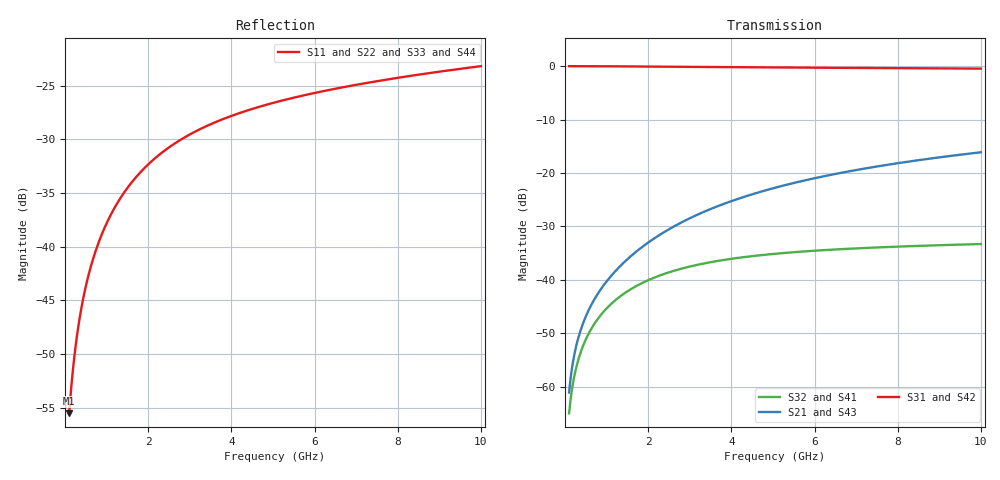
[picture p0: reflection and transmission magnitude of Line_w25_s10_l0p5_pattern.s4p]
! TOUCHSTONE file generated by CST MICROWAVE STUDIO
! Date and time: Thu Oct 23 10:02:00 2014
! Project name: Untitled_1.cst
# GHZ S MA R 50
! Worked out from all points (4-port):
!   1001 points, 100 MHz to 10 GHz, reference 50 ohm
!   strongest paths, dB at 100 MHz, 2.575 GHz, 5.05 GHz, 7.525 GHz, 10 GHz:
!     S31: 0.0, -0.1, -0.3, -0.4, -0.5
!     S42: 0.0, -0.1, -0.3, -0.4, -0.5
!     S21: -61.1, -30.2, -22.8, -18.8, -16.1
!     S43: -61.1, -30.2, -22.8, -18.8, -16.1
!     S32: -65.0, -38.4, -35.1, -34.0, -33.3
!     S41: -65.0, -38.4, -35.2, -34.0, -33.3
!   lowest |S11| = -55.5 dB at 100 MHz (marker M1), VSWR 1.00, Z = 50.1 - j0.127 ohm
!   |S11| at or under -10 dB: start of sweep to end of sweep
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0.1  0.001674 -49.3  0.0008785 91.2  0.9988 -0.3  0.000561 -92.6
     0.0008785 91.2  0.001673 -49.2  0.000561 -92.6  0.9988 -0.3
     0.9988 -0.3  0.000561 -92.6  0.001674 -49.3  0.0008785 91.2
     0.000561 -92.6  0.9988 -0.3  0.0008785 91.2  0.001673 -49.2
0.3574  0.004707 -78.7  0.003183 94.5  0.9984 -1.0  0.001979 -98.2
        0.003184 94.5  0.004699 -78.7  0.001979 -98.2  0.9984 -1.0
        0.9984 -1.0  0.001979 -98.2  0.004707 -78.7  0.003183 94.5
        0.001979 -98.2  0.9984 -1.0  0.003184 94.5  0.004699 -78.7
0.8029  0.01037 -91.1  0.007524 98.7  0.997 -2.1  0.004366 -107.8
        0.007524 98.7  0.01035 -91.0  0.004366 -107.8  0.997 -2.1
        0.997 -2.1  0.004366 -107.8  0.01037 -91.0  0.007524 98.7
        0.004366 -107.8  0.997 -2.1  0.007524 98.7  0.01035 -91.0
1.5157  0.01893 -101.3  0.01574 102.3  0.9935 -3.9  0.007848 -122.6
        0.01574 102.3  0.0189 -101.3  0.007849 -122.6  0.9935 -3.9
        0.9935 -3.9  0.007849 -122.6  0.01893 -101.3  0.01574 102.3
        0.007848 -122.6  0.9935 -3.9  0.01574 102.3  0.0189 -101.3
2.5354  0.0293 -111.1  0.03022 102.6  0.987 -6.4  0.01184 -141.9
        0.03022 102.6  0.02925 -111.2  0.01184 -141.9  0.987 -6.4
        0.987 -6.4  0.01184 -141.9  0.0293 -111.1  0.03022 102.6
        0.01184 -141.9  0.987 -6.4  0.03022 102.6  0.02926 -111.2
5.4361  0.04907 -126.5  0.07936 93.2  0.9694 -12.6  0.01799 175.7
        0.07936 93.2  0.04896 -126.5  0.01801 175.6  0.9694 -12.6
        0.9694 -12.6  0.01801 175.6  0.04909 -126.5  0.07936 93.3
        0.01799 175.7  0.9694 -12.6  0.07936 93.3  0.04901 -126.6
10  0.06927 -137.4  0.156 78.3  0.9477 -21.9  0.02151 129.1
    0.156 78.3  0.06906 -137.4  0.02158 129.1  0.9477 -21.9
    0.9477 -21.9  0.02158 129.1  0.06936 -137.4  0.156 78.4
    0.02151 129.1  0.9477 -21.9  0.156 78.4  0.06923 -137.6
